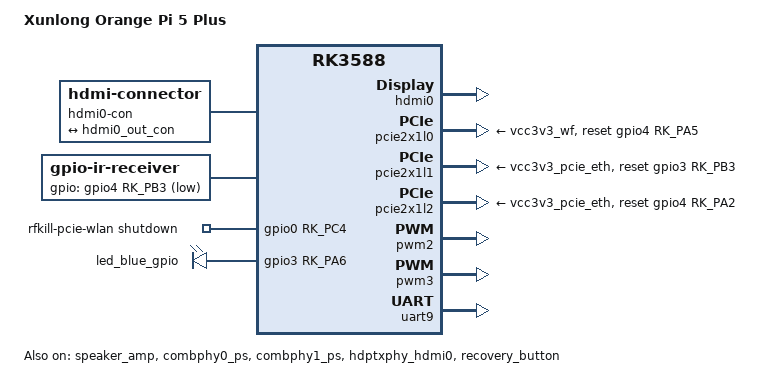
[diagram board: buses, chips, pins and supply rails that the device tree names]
// SPDX-License-Identifier: (GPL-2.0+ OR MIT)
/*
 * Copyright (c) 2023 Ondřej Jirman <megi@xff.cz>
 */

/dts-v1/;

#include <dt-bindings/gpio/gpio.h>
#include <dt-bindings/pinctrl/rockchip.h>
#include <dt-bindings/soc/rockchip,vop2.h>
#include <dt-bindings/usb/pd.h>
#include "rk3588-orangepi-5.dtsi"

/ {
	model = "Xunlong Orange Pi 5 Plus";
	compatible = "xunlong,orangepi-5-plus", "rockchip,rk3588";

	hdmi0-con {
		compatible = "hdmi-connector";
		type = "a";

		port {
			hdmi0_con_in: endpoint {
				remote-endpoint = <&hdmi0_out_con>;
			};
		};
	};

	ir-receiver {
		compatible = "gpio-ir-receiver";
		gpios = <&gpio4 RK_PB3 GPIO_ACTIVE_LOW>;
		pinctrl-names = "default";
		pinctrl-0 = <&ir_receiver_pin>;
	};

	rfkill {
		compatible = "rfkill-gpio";
		label = "rfkill-pcie-wlan";
		radio-type = "wlan";
		shutdown-gpios = <&gpio0 RK_PC4 GPIO_ACTIVE_HIGH>;
	};
};

&speaker_amp {
	enable-gpios = <&gpio3 RK_PC0 GPIO_ACTIVE_HIGH>;
	status = "okay";
};

&headphone_amp {
	enable-gpios = <&gpio3 RK_PA7 GPIO_ACTIVE_HIGH>;
};

&analog_sound {
	pinctrl-names = "default";
	pinctrl-0 = <&hp_detect>;
	simple-audio-card,aux-devs = <&speaker_amp>, <&headphone_amp>;
	simple-audio-card,hp-det-gpios = <&gpio1 RK_PD3 GPIO_ACTIVE_LOW>;
	simple-audio-card,widgets =
		"Microphone", "Onboard Microphone",
		"Microphone", "Microphone Jack",
		"Speaker", "Speaker",
		"Headphone", "Headphones";

	simple-audio-card,routing =
		"Headphones", "LOUT1",
		"Headphones", "ROUT1",
		"Speaker", "LOUT2",
		"Speaker", "ROUT2",

		"Headphones", "Headphones Amp OUTL",
		"Headphones", "Headphones Amp OUTR",
		"Headphones Amp INL", "LOUT1",
		"Headphones Amp INR", "ROUT1",

		"Speaker", "Speaker Amp OUTL",
		"Speaker", "Speaker Amp OUTR",
		"Speaker Amp INL", "LOUT2",
		"Speaker Amp INR", "ROUT2",

		/* single ended signal to LINPUT1 */
		"LINPUT1", "Microphone Jack",
		"RINPUT1", "Microphone Jack",
		/* differential signal */
		"LINPUT2", "Onboard Microphone",
		"RINPUT2", "Onboard Microphone";
};

&combphy0_ps {
	status = "okay";
};

&combphy1_ps {
	status = "okay";
};

&fan {
	pwms = <&pwm3 0 50000 0>;
};

&hdmi0 {
	status = "okay";
};

&hdmi0_in {
	hdmi0_in_vp0: endpoint {
		remote-endpoint = <&vp0_out_hdmi0>;
	};
};

&hdmi0_out {
	hdmi0_out_con: endpoint {
		remote-endpoint = <&hdmi0_con_in>;
	};
};

&hdptxphy_hdmi0 {
	status = "okay";
};

&hym8563 {
	interrupt-parent = <&gpio0>;
	interrupts = <RK_PB0 IRQ_TYPE_LEVEL_LOW>;
	pinctrl-names = "default";
	pinctrl-0 = <&hym8563_int>;
};

&led_blue_gpio {
	gpios = <&gpio3 RK_PA6 GPIO_ACTIVE_HIGH>;
	status = "okay";
};

&led_green_pwm {
	pwms = <&pwm2 0 25000 0>;
};

/* phy1 - M.KEY socket */
&pcie2x1l0 {
	reset-gpios = <&gpio4 RK_PA5 GPIO_ACTIVE_HIGH>;
	vpcie3v3-supply = <&vcc3v3_wf>;
	status = "okay";
};

/* phy2 - right ethernet port */
&pcie2x1l1 {
	reset-gpios = <&gpio3 RK_PB3 GPIO_ACTIVE_HIGH>;
	vpcie3v3-supply = <&vcc3v3_pcie_eth>;
	status = "okay";
};

/* phy0 - left ethernet port */
&pcie2x1l2 {
	reset-gpios = <&gpio4 RK_PA2 GPIO_ACTIVE_HIGH>;
	vpcie3v3-supply = <&vcc3v3_pcie_eth>;
	status = "okay";
};

&pinctrl {
	hym8563 {
		hym8563_int: hym8563-int {
			rockchip,pins = <0 RK_PB0 RK_FUNC_GPIO &pcfg_pull_none>;
		};
	};

	leds {
		blue_led_pin: blue-led {
			rockchip,pins = <3 RK_PA6 RK_FUNC_GPIO &pcfg_pull_up>;
		};
	};

	ir-receiver {
		ir_receiver_pin: ir-receiver-pin {
			rockchip,pins = <4 RK_PB3 RK_FUNC_GPIO &pcfg_pull_none>;
		};
	};

	sound {
		hp_detect: hp-detect {
			rockchip,pins = <1 RK_PD3 RK_FUNC_GPIO &pcfg_pull_none>;
		};
	};

	usb {
		vcc5v0_usb20_en: vcc5v0-usb20-en {
			rockchip,pins = <3 RK_PB7 RK_FUNC_GPIO &pcfg_pull_none>;
		};
	};
};

&pwm2 {
	pinctrl-0 = <&pwm2m1_pins>;
	pinctrl-names = "default";
	status = "okay";
};

&pwm3 {
	pinctrl-0 = <&pwm3m1_pins>;
	status = "okay";
};

&recovery_button {
	status = "okay";
};

&sfc {
	pinctrl-names = "default";
	pinctrl-0 = <&fspim1_pins>;
};

&uart9 {
	pinctrl-0 = <&uart9m0_xfer>;
	status = "okay";
};

&vcc3v3_pcie_eth {
	gpios = <&gpio3 RK_PB4 GPIO_ACTIVE_LOW>;
};

&vcc3v3_wf {
	status = "okay";
};

&vcc5v0_usb20 {
	gpio = <&gpio3 RK_PB7 GPIO_ACTIVE_HIGH>;
	pinctrl-names = "default";
	pinctrl-0 = <&vcc5v0_usb20_en>;
};

&vp0 {
	vp0_out_hdmi0: endpoint@ROCKCHIP_VOP2_EP_HDMI0 {
		reg = <ROCKCHIP_VOP2_EP_HDMI0>;
		remote-endpoint = <&hdmi0_in_vp0>;
	};
};
